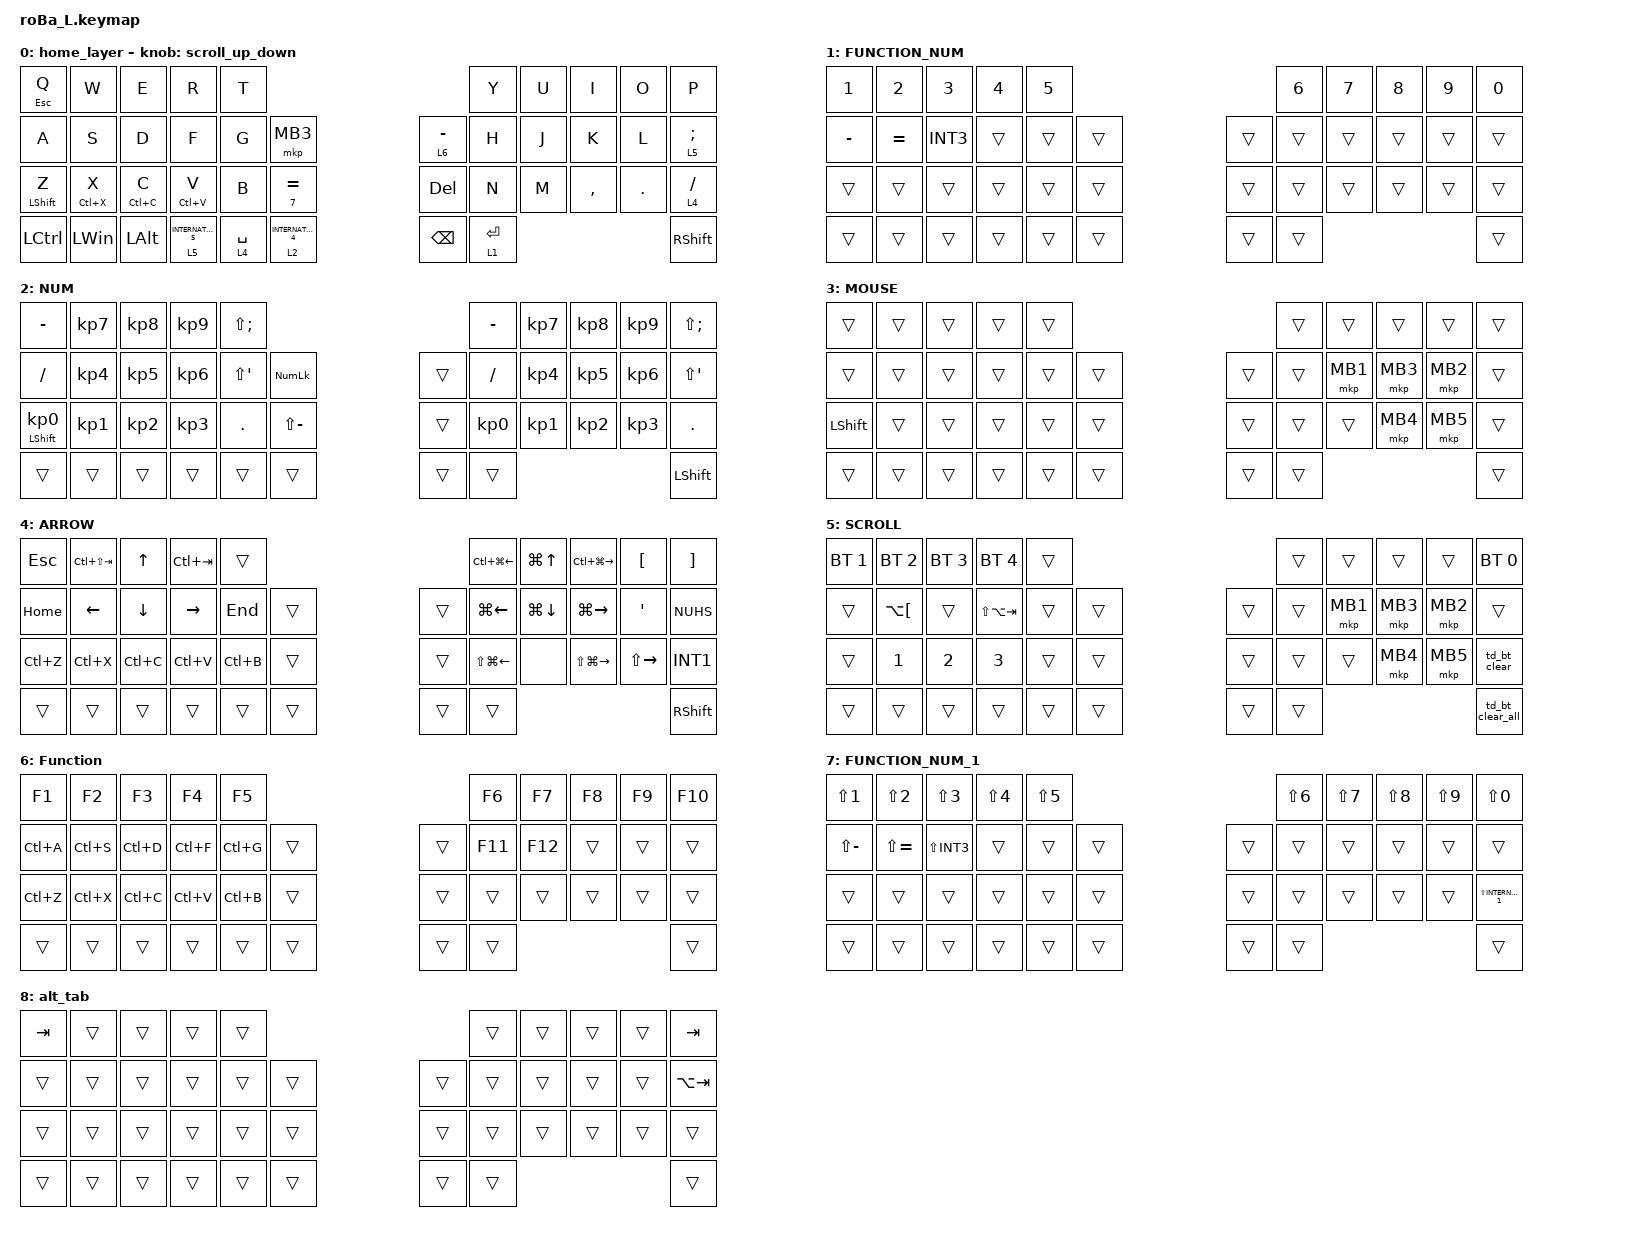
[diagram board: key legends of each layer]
#include <behaviors/rgbled_widget.dtsi>
#include <behaviors.dtsi>
#include <dt-bindings/zmk/bt.h>
#include <dt-bindings/zmk/keys.h>
#include <dt-bindings/zmk/pointing.h>

#define ZMK_POINTING_DEFAULT_SCRL_VAL 100
#define NUM 2
#define MOUSE 3
#define YAJIRUSHI 4
#define SCROLL 5
#define VOLUME 6
#define ALTTAB 7
#define CTRLTAB 8

&mt {
    flavor = "hold-preferred";
    quick-tap-ms = <0>;
};

&lt {
    flavor = "hold-preferred";
    quick-tap-ms = <0>;
};

&sk { release-after-ms = <700>; };

&sl { release-after-ms = <1000>; };

/ {
    combos {
        compatible = "zmk,combos";

        tab {
            bindings = <&kp TAB>;
            key-positions = <11 12>;
        };

        shift_tab {
            bindings = <&kp LS(TAB)>;
            key-positions = <12 13>;
        };

        zenkaku {
            bindings = <&td_ZenkakuHankaku>;
            key-positions = <10 11>;
        };

        double_quotation {
            bindings = <&kp DOUBLE_QUOTES>;
            key-positions = <20 21>;
        };

        eq {
            bindings = <&kp LS(MINUS)>;
            key-positions = <24 25>;
        };

        esc_combo {
            bindings = <&kp ESCAPE>;
            key-positions = <0 1>;
        };

        ctrl-tab {
            bindings = <&mo 8>;
            key-positions = <38 37>;
        };

        mouse {
            bindings = <&mo 4>;
            key-positions = <13 14>;
        };
    };

    macros {
        to_layer_0: to_layer_0 {
            compatible = "zmk,behavior-macro-one-param";
            #binding-cells = <1>;
            bindings = <&to 0 &macro_param_1to1 &kp MACRO_PLACEHOLDER>;
            label = "TO_LAYER_0";
        };

        to_layer_0_disable_alt_ctrl: to_layer_0_disable_alt_ctrl {
            compatible = "zmk,behavior-macro-two-param";
            wait-ms = <0>;
            tap-ms = <0>;
            #binding-cells = <2>;
            bindings =
                <&macro_press>,
                <&macro_param_1to1 &mo MACRO_PLACEHOLDER>,
                <&macro_tap>,
                <&macro_pause_for_release>,
                <&macro_release>,
                <&macro_param_1to1 &mo MACRO_PLACEHOLDER>,
                <&macro_tap>,
                <&disable_alt_ctrl>;

            label = "TO_LAYER_0_DISABLE_ALT_CTRL";
        };

        disable_alt_ctrl: disable_alt_ctrl {
            compatible = "zmk,behavior-macro";
            wait-ms = <0>;
            tap-ms = <0>;
            #binding-cells = <0>;
            bindings = <&to 0 &kt_off LEFT_ALT &kt_off LCTRL &kt_off LEFT_ALT &kt_off LCTRL &kt_off LEFT_ALT &kt_off LCTRL &kt_off LEFT_ALT &kt_off LCTRL &kt_off LEFT_ALT &kt_off LCTRL &kt_off LEFT_ALT &kt_off LCTRL &kt_off LEFT_ALT &kt_off LCTRL &kt_off LEFT_ALT &kt_off LCTRL &kt_off LEFT_ALT &kt_off LCTRL &kt_off LEFT_ALT &kt_off LCTRL &kt_off LEFT_ALT &kt_off LCTRL &kt_off LEFT_ALT &kt_off LCTRL>;
            label = "DISABLE_ALT_CTRL";
        };

        kp_to: kp_to {
            compatible = "zmk,behavior-macro-two-param";
            wait-ms = <0>;
            tap-ms = <0>;
            #binding-cells = <2>;
            bindings = <&macro_param_1to1 &kp MACRO_PLACEHOLDER &macro_param_2to1 &to MACRO_PLACEHOLDER>;
            label = "kp_to";
        };

        tab_kt_on_to: tab_kt_on_to {
            compatible = "zmk,behavior-macro-two-param";
            wait-ms = <0>;
            tap-ms = <0>;
            #binding-cells = <2>;
            bindings = <&macro_param_1to1 &kt_on MACRO_PLACEHOLDER &macro_param_2to2 &kp_to TAB MACRO_PLACEHOLDER>;
            label = "tab_kt_on_to";
        };

        shift_tab_kt_on_to: shift_tab_kt_on_to {
            compatible = "zmk,behavior-macro-two-param";
            wait-ms = <0>;
            tap-ms = <0>;
            #binding-cells = <2>;
            bindings = <&macro_param_1to1 &kt_on MACRO_PLACEHOLDER &macro_param_2to2 &kp_to LS(TAB) MACRO_PLACEHOLDER>;
            label = "shift_tab_kt_on_to";
        };

        zoom_in: zoom_in {
            compatible = "zmk,behavior-macro";
            #binding-cells = <0>;
            bindings = <&kt_on LCTRL &msc SCRL_UP &kt_off LCTRL>;
            label = "ZOOM_IN";
        };

        zoom_out: zoom_out {
            compatible = "zmk,behavior-macro";
            #binding-cells = <0>;
            bindings = <&kt_on LCTRL &msc SCRL_DOWN &kt_off LCTRL>;
            label = "ZOOM_OUT";
        };

        eager_tap_dance: eager_tap_dance {
            compatible = "zmk,behavior-macro-two-param";
            #binding-cells = <2>;
            bindings =
                <&macro_press>,
                <&macro_param_1to1 &kp MACRO_PLACEHOLDER>,
                <&macro_pause_for_release>,
                <&macro_release>,
                <&macro_param_1to1 &kp MACRO_PLACEHOLDER>,
                <&macro_tap>,
                <&macro_param_2to1 &sl_250 MACRO_PLACEHOLDER>;

            label = "eager_tap_dance";
        };
    };

    behaviors {
        lt_to_layer_0: lt_to_layer_0 {
            compatible = "zmk,behavior-hold-tap";
            label = "LAYER_TAP_TO_0";
            bindings = <&mo>, <&to_layer_0>;

            #binding-cells = <2>;
            tapping-term-ms = <200>;
            display-name = "Lt-to-layer-0";
        };

        lt_to_layer_1: lt_to_layer_1 {
            compatible = "zmk,behavior-hold-tap";
            label = "LAYER_TAP_TO_1";
            bindings = <&mo>, <&to_layer_0>;

            #binding-cells = <2>;
            tapping-term-ms = <100>;
            display-name = "Lt-to-layer-fast";
        };

        lt_to_layer_0_disable_alt_ctrl: lt_to_layer_0_disable_alt_ctrl {
            compatible = "zmk,behavior-hold-tap";
            label = "LAYER_TAP_TO_1_DISABLE_ALT_CTRL";
            bindings = <&to_layer_0_disable_alt_ctrl>, <&kp>;

            #binding-cells = <2>;
            tapping-term-ms = <150>;
            display-name = "Lt-to-layer-0-alt-tab";
        };

        scroll_up_down: behavior_sensor_rotate_mouse_wheel_up_down {
            compatible = "zmk,behavior-sensor-rotate";
            #sensor-binding-cells = <0>;
            bindings = <&msc SCRL_UP>, <&msc SCRL_DOWN>;

            // 追加: スクロールのタップ時間を設定 (20ms)

            tap-ms = <20>;
        };

        kt_on: key_toggle_on_only {
            compatible = "zmk,behavior-key-toggle";
            #binding-cells = <1>;
            display-name = "Key Toggle On";
            toggle-mode = "on";
        };

        kt_off: key_toggle_off_only {
            compatible = "zmk,behavior-key-toggle";
            #binding-cells = <1>;
            display-name = "Key Toggle Off";
            toggle-mode = "off";
        };

        td_q_escape: td_q_escape {
            compatible = "zmk,behavior-tap-dance";
            label = "TD_Q_ESCAPE";
            #binding-cells = <0>;
            tapping-term-ms = <250>;
            bindings = <&kp Q>, <&kp ESCAPE>;
        };

        td_ZenkakuHankaku: td_ZenkakuHankaku {
            compatible = "zmk,behavior-tap-dance";

            // compatible = "zmk,behavior-eager-tap-dance";

            label = "TD_ZENKAKUHANKAKU";
            #binding-cells = <0>;
            tapping-term-ms = <250>;
            bindings = <&kp LANGUAGE_2>, <&kp LANGUAGE_1>;
        };

        alt_tab: alt_tab {
            compatible = "zmk,behavior-macro-two-param";
            #binding-cells = <2>;
            bindings = <&macro_param_1to1 &kt_on MACRO_PLACEHOLDER &macro_param_2to1 &kp MACRO_PLACEHOLDER &macro_param_1to1 &sk MACRO_PLACEHOLDER &macro_param_1to1 &kt_off MACRO_PLACEHOLDER>;
            label = "ALT_TAB";
        };

        windows_sleep: windows_sleep {
            compatible = "zmk,behavior-macro";
            wait-ms = <100>;
            tap-ms = <100>;
            #binding-cells = <0>;
            bindings = <&kp LG(X) &kp U &kp S>;
            label = "WINDOWS_SLEEP";
        };

        send_up: send_up {
            compatible = "zmk,behavior-macro";
            #binding-cells = <0>;
            bindings = <&kp U &kp P &kp ENTER>;
            label = "SEND_UP";
        };

        mod_morph_exclamation: mod_morph_exclamation {
            compatible = "zmk,behavior-mod-morph";
            label = "MOD_MORPH_EXCLAMATION";
            bindings = <&kp COMMA>, <&kp EXCL>;

            #binding-cells = <0>;
            mods = <(MOD_LSFT)>;
        };

        mod_morph_question: mod_morph_question {
            compatible = "zmk,behavior-mod-morph";
            label = "MOD_MORPH_QUESTION";
            bindings = <&kp PERIOD>, <&kp QUESTION>;

            #binding-cells = <0>;
            mods = <(MOD_LSFT)>;
        };

        mod_morph_slash: mod_morph_slash {
            compatible = "zmk,behavior-mod-morph";
            label = "MOD_MORPH_SLASH";
            bindings = <&kp SLASH>, <&kp BACKSLASH>;

            #binding-cells = <0>;
            mods = <(MOD_LSFT)>;
        };

        td_alt_f4: td_alt_f4 {
            compatible = "zmk,behavior-tap-dance";
            label = "TD_ALT_F4";
            #binding-cells = <0>;
            bindings = <&kp F4>, <&kp LA(F4)>;

            tapping-term-ms = <250>;
        };

        encoder_zoom: encoder_zoom {
            compatible = "zmk,behavior-sensor-rotate";
            #sensor-binding-cells = <0>;
            bindings = <&zoom_out>, <&zoom_in>;
        };

        encoder_volume: encoder_volume {
            compatible = "zmk,behavior-sensor-rotate";
            #sensor-binding-cells = <0>;
            bindings = <&kp C_VOLUME_DOWN>, <&kp C_VOLUME_UP>;
        };

        sl_250: sl_250 {
            compatible = "zmk,behavior-sticky-key";
            label = "SL_250";
            bindings = <&mo>;
            #binding-cells = <1>;
            release-after-ms = <250>;
        };

        td_bt_clear: td_bt_clear {
            compatible = "zmk,behavior-tap-dance";
            label = "TD_BT_CLEAR";
            #binding-cells = <0>;
            bindings = <&none>, <&none>, <&bt BT_CLR>;

            tapping-term-ms = <250>;
        };

        td_bt_clear_all: td_bt_clear_all {
            compatible = "zmk,behavior-tap-dance";
            label = "TD_BT_CLEAR_ALL";
            #binding-cells = <0>;
            tapping-term-ms = <250>;
            bindings = <&none>, <&none>, <&bt BT_CLR_ALL>;
        };
    };

    keymap {
        compatible = "zmk,keymap";

        home_layer {
            bindings = <
&mt ESCAPE Q      &kp W         &kp E         &kp R                  &kp T                                                                             &kp Y        &kp U  &kp I      &kp O    &kp P
&kp A             &kp S         &kp D         &kp F                  &kp G        &mkp MB3                                     &lt_to_layer_0 6 MINUS  &kp H        &kp J  &kp K      &kp L    &lt_to_layer_0 5 SEMICOLON
&mt LEFT_SHIFT Z  &mt LC(X) X   &mt LC(C) C   &mt LC(V) V            &kp B        &lt_to_layer_0_disable_alt_ctrl 7 EQUAL      &kp DEL                 &kp N        &kp M  &kp COMMA  &kp DOT  &lt 4 SLASH
&kp LCTRL         &kp LEFT_WIN  &kp LEFT_ALT  &lt 5 INTERNATIONAL_5  &lt 4 SPACE  &lt 2 INTERNATIONAL_4                        &kp BACKSPACE           &lt 1 ENTER                             &kp RIGHT_SHIFT
            >;

            sensor-bindings = <&scroll_up_down>;
        };

        FUNCTION_NUM {
            bindings = <
&kp NUMBER_1  &kp NUMBER_2  &kp NUMBER_3  &kp NUMBER_4  &kp N5                      &kp NUMBER_6  &kp NUMBER_7  &kp NUMBER_8  &kp NUMBER_9  &kp N0
&kp MINUS     &kp EQUAL     &kp INT3      &trans        &trans  &trans      &trans  &trans        &trans        &trans        &trans        &trans
&trans        &trans        &trans        &trans        &trans  &trans      &trans  &trans        &trans        &trans        &trans        &trans
&trans        &trans        &trans        &trans        &trans  &trans      &trans  &trans                                                  &trans
            >;
        };

        NUM {
            bindings = <
&kp MINUS                   &kp KP_NUMBER_7  &kp KP_NUMBER_8  &kp KP_NUMBER_9  &kp LS(SEMI)                              &kp MINUS        &kp KP_NUMBER_7  &kp KP_NUMBER_8  &kp KP_NUMBER_9  &kp LS(SEMI)
&kp SLASH                   &kp KP_NUMBER_4  &kp KP_NUMBER_5  &kp KP_NUMBER_6  &kp LS(SQT)   &kp KP_NUMLOCK      &trans  &kp SLASH        &kp KP_NUMBER_4  &kp KP_N5        &kp KP_NUMBER_6  &kp LS(SQT)
&mt LEFT_SHIFT KP_NUMBER_0  &kp KP_NUMBER_1  &kp KP_NUMBER_2  &kp KP_NUMBER_3  &kp PERIOD    &kp LS(MINUS)       &trans  &kp KP_NUMBER_0  &kp KP_NUMBER_1  &kp KP_NUMBER_2  &kp KP_NUMBER_3  &kp PERIOD
&trans                      &trans           &trans           &trans           &trans        &trans              &trans  &trans                                                              &kp LEFT_SHIFT
            >;
        };

        MOUSE {
            bindings = <
&trans          &trans  &trans  &trans  &trans                      &trans  &trans    &trans    &trans    &trans
&trans          &trans  &trans  &trans  &trans  &trans      &trans  &trans  &mkp MB1  &mkp MB3  &mkp MB2  &trans
&kp LEFT_SHIFT  &trans  &trans  &trans  &trans  &trans      &trans  &trans  &trans    &mkp MB4  &mkp MB5  &trans
&trans          &trans  &trans  &trans  &trans  &trans      &trans  &trans                                &trans
            >;
        };

        ARROW {
            bindings = <
&kp ESCAPE  &kp LC(LS(TAB))  &kp UP_ARROW    &kp LC(TAB)      &trans                         &kp LC(LG(LEFT_ARROW))  &kp LG(UP_ARROW)    &kp LC(LG(RIGHT_ARROW))  &kp LEFT_BRACKET     &kp RIGHT_BRACKET
&kp HOME    &kp LEFT_ARROW   &kp DOWN_ARROW  &kp RIGHT_ARROW  &kp END    &trans      &trans  &kp LG(LEFT_ARROW)      &kp LG(DOWN_ARROW)  &kp LG(RIGHT_ARROW)      &kp SQT              &kp NUHS
&kp LC(Z)   &kp LC(X)        &kp LC(C)       &kp LC(V)        &kp LC(B)  &trans      &trans  &kp LS(LG(LEFT_ARROW))  &none               &kp LS(LG(RIGHT_ARROW))  &kp LS(RIGHT_ARROW)  &kp INT1
&trans      &trans           &trans          &trans           &trans     &trans      &trans  &trans                                                                                    &kp RIGHT_SHIFT
            >;
        };

        SCROLL {
            bindings = <
&bt BT_SEL 1  &bt BT_SEL 2          &bt BT_SEL 3  &bt BT_SEL 4     &trans                      &trans  &trans    &trans    &trans    &bt BT_SEL 0
&trans        &kp LA(LEFT_BRACKET)  &trans        &kp LS(LA(TAB))  &trans  &trans      &trans  &trans  &mkp MB1  &mkp MB3  &mkp MB2  &trans
&trans        &kp NUMBER_1          &kp NUMBER_2  &kp NUMBER_3     &trans  &trans      &trans  &trans  &trans    &mkp MB4  &mkp MB5  &td_bt_clear
&trans        &trans                &trans        &trans           &trans  &trans      &trans  &trans                                &td_bt_clear_all
            >;
        };

        Function {
            bindings = <
&kp F1     &kp F2     &kp F3     &kp F4     &kp F5                         &kp F6   &kp F7   &kp F8  &kp F9  &kp F10
&kp LC(A)  &kp LC(S)  &kp LC(D)  &kp LC(F)  &kp LC(G)  &trans      &trans  &kp F11  &kp F12  &trans  &trans  &trans
&kp LC(Z)  &kp LC(X)  &kp LC(C)  &kp LC(V)  &kp LC(B)  &trans      &trans  &trans   &trans   &trans  &trans  &trans
&trans     &trans     &trans     &trans     &trans     &trans      &trans  &trans                            &trans
            >;
        };

        FUNCTION_NUM_1 {
            bindings = <
&kp LS(NUMBER_1)  &kp LS(NUMBER_2)  &kp LS(NUMBER_3)  &kp LS(NUMBER_4)  &kp LS(N5)                      &kp LS(NUMBER_6)  &kp LS(NUMBER_7)  &kp LS(NUMBER_8)  &kp LS(NUMBER_9)  &kp LS(N0)
&kp LS(MINUS)     &kp LS(EQUAL)     &kp LS(INT3)      &trans            &trans      &trans      &trans  &trans            &trans            &trans            &trans            &trans
&trans            &trans            &trans            &trans            &trans      &trans      &trans  &trans            &trans            &trans            &trans            &kp LS(INTERNATIONAL_1)
&trans            &trans            &trans            &trans            &trans      &trans      &trans  &trans                                                                  &trans
            >;
        };

        alt_tab {
            bindings = <
&kp TAB  &trans  &trans  &trans  &trans                      &trans  &trans  &trans  &trans  &kp TAB
&trans   &trans  &trans  &trans  &trans  &trans      &trans  &trans  &trans  &trans  &trans  &kp LA(TAB)
&trans   &trans  &trans  &trans  &trans  &trans      &trans  &trans  &trans  &trans  &trans  &trans
&trans   &trans  &trans  &trans  &trans  &trans      &trans  &trans                          &trans
            >;
        };
    };
};
